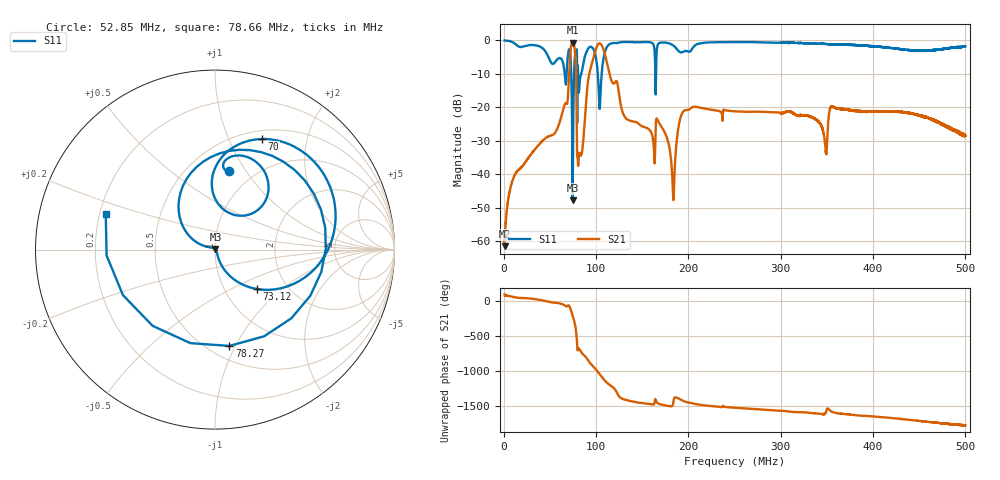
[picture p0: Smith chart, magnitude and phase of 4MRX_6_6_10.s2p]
! NanoVNA-App
! Date: 2026-08-19 18:04:25
! Start: 1MHz Stop: 500MHz Points: 6401
! S-Parameter data: F S11 S21 S12 S22
# Hz S RI R 50
!  Frequency  S11_Real  S11_Imag  S21_Real  S21_Imag  S12_Real  S12_Imag  S22_Real  S22_Imag
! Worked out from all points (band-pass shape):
!   6401 points, 1 MHz to 500 MHz, reference 50 ohm
!   highest |S21| = -0.66 dB at 74.76 MHz (marker M1); lowest = -61.6 dB at 1 MHz (marker M2)
!   |S21| within 3 dB of the highest: 72.3 MHz to 77.27 MHz (4.974 MHz wide, 6.65 % of centre); 98.73 MHz to 109.1 MHz (10.39 MHz wide, 10 % of centre)
!   lowest |S11| = -47.8 dB at 74.68 MHz (marker M3), VSWR 1.01, Z = 50.2 + j0.345 ohm
!   |S11| at or under -10 dB: 73.13 MHz to 76.23 MHz (3.096 MHz wide, 4.15 % of centre); 80.65 MHz to 84.02 MHz (3.375 MHz wide, 4.1 % of centre); 101.9 MHz to 106.1 MHz (4.226 MHz wide, 4.06 % of centre)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
!   S12 and S22 are empty: the file has one direction only
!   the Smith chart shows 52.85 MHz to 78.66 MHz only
!   S11 on the Smith chart (normalised r, x): 52.85 MHz: 0.77, +0.84; 70 MHz: 0.60, +1.33; 73.12 MHz: 1.41, -0.69; 78.27 MHz: 0.62, -0.95; 78.66 MHz: 0.22, +0.15
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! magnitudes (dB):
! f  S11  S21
! 1 MHz  0.0  -61.6
! 11.76 MHz  -0.9  -40.4
! 52.85 MHz  -7.0  -28.3
! 70 MHz  -3.5  -14.8
! 73.12 MHz  -9.9  -1.5
! 74.68 MHz  -47.8  -0.7
! 74.76 MHz  -44.7  -0.7
! 78.27 MHz  -5.3  -7.2
! 78.66 MHz  -3.9  -13.1
! 81.46 MHz  -15.7  -34.2
! 84.19 MHz  -9.8  -34.2
! 95.42 MHz  -2.0  -7.0
! 103.4 MHz  -17.8  -0.9
! 112.1 MHz  -1.8  -7.1
! 131.8 MHz  -0.5  -23.1
! 167.4 MHz  -1.0  -24.2
! 183.4 MHz  -1.4  -46.3
! 195 MHz  -3.3  -21.1
! 250.5 MHz  -0.5  -21.2
! 333.7 MHz  -0.9  -22.9
! 416.9 MHz  -2.2  -21.2
! 500 MHz  -1.7  -28.6
